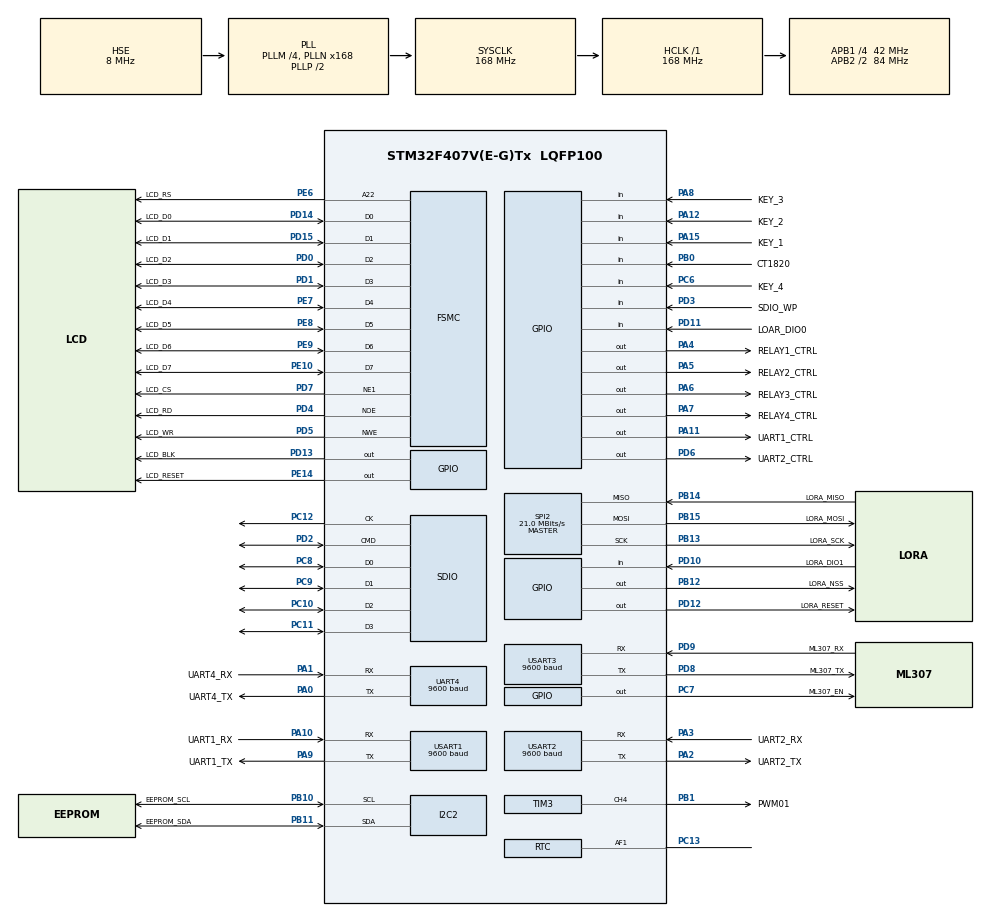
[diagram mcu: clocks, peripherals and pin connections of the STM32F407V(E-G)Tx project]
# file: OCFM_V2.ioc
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Dma.Request0=SDIO
Dma.Request1=USART3_TX
Dma.Request2=USART1_RX
Dma.Request3=USART1_TX
Dma.Request4=USART2_RX
Dma.Request5=USART2_TX
Dma.SDIO.0.Direction=DMA_PERIPH_TO_MEMORY
Dma.SDIO.0.FIFOMode=DMA_FIFOMODE_ENABLE
Dma.SDIO.0.FIFOThreshold=DMA_FIFO_THRESHOLD_FULL
Dma.SDIO.0.Instance=DMA2_Stream3
Dma.SDIO.0.MemBurst=DMA_MBURST_INC4
Dma.SDIO.0.MemDataAlignment=DMA_MDATAALIGN_WORD
Dma.SDIO.0.MemInc=DMA_MINC_ENABLE
Dma.SDIO.0.Mode=DMA_PFCTRL
Dma.SDIO.0.PeriphBurst=DMA_PBURST_INC4
Dma.SDIO.0.PeriphDataAlignment=DMA_PDATAALIGN_WORD
Dma.SDIO.0.PeriphInc=DMA_PINC_DISABLE
Dma.SDIO.0.Priority=DMA_PRIORITY_MEDIUM
Dma.USART1_RX.2.Direction=DMA_PERIPH_TO_MEMORY
Dma.USART1_RX.2.FIFOMode=DMA_FIFOMODE_DISABLE
Dma.USART1_RX.2.Instance=DMA2_Stream2
Dma.USART1_RX.2.MemDataAlignment=DMA_MDATAALIGN_BYTE
Dma.USART1_RX.2.MemInc=DMA_MINC_ENABLE
Dma.USART1_RX.2.Mode=DMA_CIRCULAR
Dma.USART1_RX.2.PeriphDataAlignment=DMA_PDATAALIGN_BYTE
Dma.USART1_RX.2.PeriphInc=DMA_PINC_DISABLE
Dma.USART1_RX.2.Priority=DMA_PRIORITY_HIGH
Dma.USART1_TX.3.Direction=DMA_MEMORY_TO_PERIPH
Dma.USART1_TX.3.FIFOMode=DMA_FIFOMODE_DISABLE
Dma.USART1_TX.3.Instance=DMA2_Stream7
Dma.USART1_TX.3.MemDataAlignment=DMA_MDATAALIGN_BYTE
Dma.USART1_TX.3.MemInc=DMA_MINC_ENABLE
Dma.USART1_TX.3.Mode=DMA_NORMAL
Dma.USART1_TX.3.PeriphDataAlignment=DMA_PDATAALIGN_BYTE
Dma.USART1_TX.3.PeriphInc=DMA_PINC_DISABLE
Dma.USART1_TX.3.Priority=DMA_PRIORITY_HIGH
Dma.USART2_RX.4.Direction=DMA_PERIPH_TO_MEMORY
Dma.USART2_RX.4.FIFOMode=DMA_FIFOMODE_DISABLE
Dma.USART2_RX.4.Instance=DMA1_Stream5
Dma.USART2_RX.4.MemDataAlignment=DMA_MDATAALIGN_BYTE
Dma.USART2_RX.4.MemInc=DMA_MINC_ENABLE
Dma.USART2_RX.4.Mode=DMA_CIRCULAR
Dma.USART2_RX.4.PeriphDataAlignment=DMA_PDATAALIGN_BYTE
Dma.USART2_RX.4.PeriphInc=DMA_PINC_DISABLE
Dma.USART2_RX.4.Priority=DMA_PRIORITY_HIGH
Dma.USART2_TX.5.Direction=DMA_MEMORY_TO_PERIPH
Dma.USART2_TX.5.FIFOMode=DMA_FIFOMODE_DISABLE
Dma.USART2_TX.5.Instance=DMA1_Stream6
Dma.USART2_TX.5.MemDataAlignment=DMA_MDATAALIGN_BYTE
Dma.USART2_TX.5.MemInc=DMA_MINC_ENABLE
Dma.USART2_TX.5.Mode=DMA_NORMAL
Dma.USART2_TX.5.PeriphDataAlignment=DMA_PDATAALIGN_BYTE
Dma.USART2_TX.5.PeriphInc=DMA_PINC_DISABLE
Dma.USART2_TX.5.Priority=DMA_PRIORITY_HIGH
Dma.USART3_TX.1.Direction=DMA_MEMORY_TO_PERIPH
Dma.USART3_TX.1.FIFOMode=DMA_FIFOMODE_DISABLE
Dma.USART3_TX.1.Instance=DMA1_Stream3
Dma.USART3_TX.1.MemDataAlignment=DMA_MDATAALIGN_BYTE
Dma.USART3_TX.1.MemInc=DMA_MINC_ENABLE
Dma.USART3_TX.1.Mode=DMA_NORMAL
Dma.USART3_TX.1.PeriphDataAlignment=DMA_PDATAALIGN_BYTE
Dma.USART3_TX.1.PeriphInc=DMA_PINC_DISABLE
Dma.USART3_TX.1.Priority=DMA_PRIORITY_HIGH
FATFS.BSP.number=1
FATFS0.BSP.STBoard=false
FATFS0.BSP.api=Unknown
FATFS0.BSP.instance=PD3
FATFS0.BSP.ip=GPIO
FATFS0.BSP.mode=Input
FATFS0.BSP.name=Detect_SDIO
FATFS0.BSP.solution=PD3
FREERTOS.Tasks01=main_task,24,2048,main_task_func,Default,NULL,Dynamic,NULL,NULL;log_task,8,2048,log_task_func,Default,NULL,Dynamic,NULL,NULL;button_scan_tas,8,512,button_scan_fun,Default,NULL,Dynamic,NULL,NULL;modbus_master_t,8,256,modbus_master_task_func,Default,NULL,Dynamic,NULL,NULL;modbus_slave_ta,8,256,modbus_slave_task_func,Default,NULL,Dynamic,NULL,NULL
FREERTOS.Timers01=flow_refresh_timer,flow_refresh_fun,osTimerPeriodic,Default,NULL,Dynamic,NULL
FREERTOS.configTOTAL_HEAP_SIZE=40960
FSMC.AddressSetupTime1=2
FSMC.BusTurnAroundDuration1=0
FSMC.DataSetupTime1=4
I2C2.OwnAddress=80
IWDG.Prescaler=IWDG_PRESCALER_64
Mcu.Family=STM32F4
Mcu.Name=STM32F407V(E-G)Tx
Mcu.Package=LQFP100
NVIC.DMA1_Stream3_IRQn=true\:5\:0\:false\:false\:true\:true\:false\:true\:true
NVIC.DMA1_Stream5_IRQn=true\:5\:0\:false\:false\:true\:true\:false\:true\:true
NVIC.DMA1_Stream6_IRQn=true\:5\:0\:false\:false\:true\:true\:false\:true\:true
NVIC.DMA2_Stream2_IRQn=true\:5\:0\:false\:false\:true\:true\:false\:true\:true
NVIC.DMA2_Stream3_IRQn=true\:5\:0\:false\:false\:true\:true\:false\:true\:true
NVIC.DMA2_Stream7_IRQn=true\:5\:0\:false\:false\:true\:true\:false\:true\:true
NVIC.PriorityGroup=NVIC_PRIORITYGROUP_4
NVIC.SDIO_IRQn=true\:5\:0\:false\:false\:true\:true\:true\:true\:true
NVIC.TIM2_IRQn=true\:15\:0\:false\:false\:true\:false\:false\:true\:true
NVIC.TimeBase=TIM2_IRQn
NVIC.TimeBaseIP=TIM2
NVIC.USART1_IRQn=true\:5\:0\:false\:false\:true\:true\:false\:true\:true
NVIC.USART2_IRQn=true\:5\:0\:false\:false\:true\:true\:false\:true\:true
NVIC.USART3_IRQn=true\:5\:0\:false\:false\:true\:true\:false\:true\:true
PA0-WKUP.GPIO_Label=UART4_TX
PA0-WKUP.Mode=Asynchronous
PA0-WKUP.Signal=UART4_TX
PA1.GPIO_Label=UART4_RX
PA1.Mode=Asynchronous
PA1.Signal=UART4_RX
PA10.GPIO_Label=UART1_RX
PA10.Mode=Asynchronous
PA10.Signal=USART1_RX
PA11.GPIO_Label=UART1_CTRL
PA11.GPIO_Speed=GPIO_SPEED_FREQ_HIGH
PA11.Signal=GPIO_Output
PA12.GPIO_Label=KEY_2
PA12.Signal=GPIO_Input
PA13.Mode=Serial_Wire
PA13.Signal=SYS_JTMS-SWDIO
PA14.Mode=Serial_Wire
PA14.Signal=SYS_JTCK-SWCLK
PA15.GPIO_Label=KEY_1
PA15.Signal=GPIO_Input
PA2.GPIO_Label=UART2_TX
PA2.Mode=Asynchronous
PA2.Signal=USART2_TX
PA3.GPIO_Label=UART2_RX
PA3.Mode=Asynchronous
PA3.Signal=USART2_RX
PA4.GPIO_Label=RELAY1_CTRL
PA4.Signal=GPIO_Output
PA5.GPIO_Label=RELAY2_CTRL
PA5.Signal=GPIO_Output
PA6.GPIO_Label=RELAY3_CTRL
PA6.Signal=GPIO_Output
PA7.GPIO_Label=RELAY4_CTRL
PA7.Signal=GPIO_Output
PA8.GPIO_Label=KEY_3
PA8.Signal=GPIO_Input
PA9.GPIO_Label=UART1_TX
PA9.Mode=Asynchronous
PA9.Signal=USART1_TX
PB0.GPIO_Label=CT1820
PB0.Signal=GPIO_Input
PB1.GPIO_Label=PWM01
PB1.GPIO_Speed=GPIO_SPEED_FREQ_HIGH
PB1.Signal=S_TIM3_CH4
PB10.GPIO_Label=EEPROM_SCL
PB10.Mode=I2C
PB10.Signal=I2C2_SCL
PB11.GPIO_Label=EEPROM_SDA
PB11.Mode=I2C
PB11.Signal=I2C2_SDA
PB12.GPIO_Label=LORA_NSS
PB12.GPIO_PuPd=GPIO_PULLUP
PB12.PinState=GPIO_PIN_SET
PB12.Signal=GPIO_Output
PB13.GPIO_Label=LORA_SCK
PB13.Mode=Full_Duplex_Master
PB13.Signal=SPI2_SCK
PB14.GPIO_Label=LORA_MISO
PB14.Mode=Full_Duplex_Master
PB14.Signal=SPI2_MISO
PB15.GPIO_Label=LORA_MOSI
PB15.Mode=Full_Duplex_Master
PB15.Signal=SPI2_MOSI
PC10.Mode=SD_4_bits_Wide_bus
PC10.Signal=SDIO_D2
PC11.Mode=SD_4_bits_Wide_bus
PC11.Signal=SDIO_D3
PC12.Mode=SD_4_bits_Wide_bus
PC12.Signal=SDIO_CK
PC13-ANTI_TAMP.Mode=Calibration_1Hz
PC13-ANTI_TAMP.Signal=RTC_AF1
PC14-OSC32_IN.Mode=LSE-External-Oscillator
PC14-OSC32_IN.Signal=RCC_OSC32_IN
PC15-OSC32_OUT.Mode=LSE-External-Oscillator
PC15-OSC32_OUT.Signal=RCC_OSC32_OUT
PC6.GPIO_Label=KEY_4
PC6.Signal=GPIO_Input
PC7.GPIO_Label=ML307_EN
PC7.PinState=GPIO_PIN_SET
PC7.Signal=GPIO_Output
PC8.Mode=SD_4_bits_Wide_bus
PC8.Signal=SDIO_D0
PC9.Mode=SD_4_bits_Wide_bus
PC9.Signal=SDIO_D1
PD0.GPIO_Label=LCD_D2
PD0.Mode=8b-d1
PD0.Signal=FSMC_D2
PD1.GPIO_Label=LCD_D3
PD1.Mode=8b-d1
PD1.Signal=FSMC_D3
PD10.GPIO_Label=LORA_DIO1
PD10.Signal=GPIO_Input
PD11.GPIO_Label=LOAR_DIO0
PD11.Signal=GPIO_Input
PD12.GPIO_Label=LORA_RESET
PD12.GPIO_PuPd=GPIO_PULLUP
PD12.PinState=GPIO_PIN_SET
PD12.Signal=GPIO_Output
PD13.GPIO_Label=LCD_BLK
PD13.PinState=GPIO_PIN_RESET
PD13.Signal=GPIO_Output
PD14.GPIO_Label=LCD_D0
PD14.Mode=8b-d1
PD14.Signal=FSMC_D0
PD15.GPIO_Label=LCD_D1
PD15.Mode=8b-d1
PD15.Signal=FSMC_D1
PD2.Mode=SD_4_bits_Wide_bus
PD2.Signal=SDIO_CMD
PD3.GPIO_Label=SDIO_WP
PD3.GPIO_PuPd=GPIO_PULLUP
PD3.Signal=GPIO_Input
PD4.GPIO_Label=LCD_RD
PD4.Mode=Lcd1
PD4.Signal=FSMC_NOE
PD5.GPIO_Label=LCD_WR
PD5.Mode=Lcd1
PD5.Signal=FSMC_NWE
PD6.GPIO_Label=UART2_CTRL
PD6.GPIO_Speed=GPIO_SPEED_FREQ_HIGH
PD6.PinState=GPIO_PIN_RESET
PD6.Signal=GPIO_Output
PD7.GPIO_Label=LCD_CS
PD7.Mode=NorPsramChipSelect1_1
PD7.Signal=FSMC_NE1
PD8.GPIO_Label=ML307_TX
PD8.Mode=Asynchronous
PD8.Signal=USART3_TX
PD9.GPIO_Label=ML307_RX
PD9.Mode=Asynchronous
PD9.Signal=USART3_RX
PE10.GPIO_Label=LCD_D7
PE10.Mode=8b-d1
PE10.Signal=FSMC_D7
PE14.GPIO_Label=LCD_RESET
PE14.PinState=GPIO_PIN_SET
PE14.Signal=GPIO_Output
PE6.GPIO_Label=LCD_RS
PE6.Mode=A22_1
PE6.Signal=FSMC_A22
PE7.GPIO_Label=LCD_D4
PE7.Mode=8b-d1
PE7.Signal=FSMC_D4
PE8.GPIO_Label=LCD_D5
PE8.Mode=8b-d1
PE8.Signal=FSMC_D5
PE9.GPIO_Label=LCD_D6
PE9.Mode=8b-d1
PE9.Signal=FSMC_D6
PH0-OSC_IN.Mode=HSE-External-Oscillator
PH0-OSC_IN.Signal=RCC_OSC_IN
PH1-OSC_OUT.Mode=HSE-External-Oscillator
PH1-OSC_OUT.Signal=RCC_OSC_OUT
ProjectManager.HeapSize=0x2000
ProjectManager.StackSize=0x4000
ProjectManager.TargetToolchain=MDK-ARM V5.32
RCC.48MHZClocksFreq_Value=48000000
RCC.AHBFreq_Value=168000000
RCC.APB1CLKDivider=RCC_HCLK_DIV4
RCC.APB1Freq_Value=42000000
RCC.APB1TimFreq_Value=84000000
RCC.APB2CLKDivider=RCC_HCLK_DIV2
RCC.APB2Freq_Value=84000000
RCC.APB2TimFreq_Value=168000000
RCC.CortexFreq_Value=168000000
RCC.HCLKFreq_Value=168000000
RCC.HSE_VALUE=8000000
RCC.HSI_VALUE=16000000
RCC.PLLM=4
RCC.PLLN=168
RCC.PLLQ=7
RCC.PLLSourceVirtual=RCC_PLLSOURCE_HSE
RCC.RCC_RTC_Clock_Source=RCC_RTCCLKSOURCE_LSE
RCC.RCC_RTC_Clock_SourceVirtual=RCC_RTCCLKSOURCE_LSE
RCC.SYSCLKFreq_VALUE=168000000
RCC.SYSCLKSource=RCC_SYSCLKSOURCE_PLLCLK
RCC.VCOOutputFreq_Value=336000000
SH.S_TIM3_CH4.0=TIM3_CH4,PWM Generation4 CH4
SPI2.CalculateBaudRate=21.0 MBits/s
SPI2.Direction=SPI_DIRECTION_2LINES
SPI2.Mode=SPI_MODE_MASTER
SPI2.VirtualType=VM_MASTER
TIM3.AutoReloadPreload=TIM_AUTORELOAD_PRELOAD_ENABLE
TIM3.Channel-PWM\ Generation4\ CH4=TIM_CHANNEL_4
TIM3.OCPolarity_4=TIM_OCPOLARITY_LOW
TIM3.Period=7999
TIM3.Prescaler=10
UART4.BaudRate=9600
UART4.VirtualMode=Asynchronous
USART1.BaudRate=9600
USART1.VirtualMode=VM_ASYNC
USART2.BaudRate=9600
USART2.VirtualMode=VM_ASYNC
USART3.BaudRate=9600
USART3.VirtualMode=VM_ASYNC
VP_FATFS_VS_SDIO.Mode=SDIO
VP_FREERTOS_VS_CMSIS_V2.Mode=CMSIS_V2
VP_IWDG_VS_IWDG.Mode=IWDG_Activate
VP_RTC_VS_RTC_Activate.Mode=RTC_Enabled
VP_RTC_VS_RTC_Calendar.Mode=RTC_Calendar
VP_SYS_VS_tim2.Mode=TIM2
VP_TIM3_VS_ClockSourceINT.Mode=Internal
board=custom

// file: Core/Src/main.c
/* USER CODE BEGIN Header */
/**
  ******************************************************************************
  * @file           : main.c
  * @brief          : Main program body
  ******************************************************************************
  * @attention
  *
  * Copyright (c) 2026 STMicroelectronics.
  * All rights reserved.
  *
  * This software is licensed under terms that can be found in the LICENSE file
  * in the root directory of this software component.
  * If no LICENSE file comes with this software, it is provided AS-IS.
  *
  ******************************************************************************
  */
/* USER CODE END Header */
#include "main.h"
#include "cmsis_os.h"
#include "dma.h"
#include "fatfs.h"
#include "i2c.h"
#include "iwdg.h"
#include "rtc.h"
#include "sdio.h"
#include "spi.h"
#include "tim.h"
#include "usart.h"
#include "gpio.h"
#include "fsmc.h"

void SystemClock_Config(void);
void MX_FREERTOS_Init(void);

int main(void)
{

  /* MCU Configuration--------------------------------------------------------*/

  /* Reset of all peripherals, Initializes the Flash interface and the Systick. */
  HAL_Init();

  /* Configure the system clock */
  SystemClock_Config();

  /* Initialize all configured peripherals */
  MX_GPIO_Init();
  MX_DMA_Init();
  MX_SDIO_SD_Init();
  MX_FATFS_Init();
  MX_SPI2_Init();
  MX_USART3_UART_Init();
  MX_FSMC_Init();
  MX_I2C2_Init();
  MX_TIM3_Init();
  MX_UART4_Init();
  MX_USART1_UART_Init();
  MX_USART2_UART_Init();
  MX_RTC_Init();
  MX_IWDG_Init();

  /* Init scheduler */
  osKernelInitialize();  /* Call init function for freertos objects (in cmsis_os2.c) */
  MX_FREERTOS_Init();

  /* Start scheduler */
  osKernelStart();

  /* We should never get here as control is now taken by the scheduler */

  /* Infinite loop */
  while (1)
  {

  }
}

void SystemClock_Config(void)
{
  RCC_OscInitTypeDef RCC_OscInitStruct = {0};
  RCC_ClkInitTypeDef RCC_ClkInitStruct = {0};

  /** Configure the main internal regulator output voltage
  */
  __HAL_RCC_PWR_CLK_ENABLE();
  __HAL_PWR_VOLTAGESCALING_CONFIG(PWR_REGULATOR_VOLTAGE_SCALE1);

  /** Initializes the RCC Oscillators according to the specified parameters
  * in the RCC_OscInitTypeDef structure.
  */
  RCC_OscInitStruct.OscillatorType = RCC_OSCILLATORTYPE_LSI|RCC_OSCILLATORTYPE_HSE
                              |RCC_OSCILLATORTYPE_LSE;
  RCC_OscInitStruct.HSEState = RCC_HSE_ON;
  RCC_OscInitStruct.LSEState = RCC_LSE_ON;
  RCC_OscInitStruct.LSIState = RCC_LSI_ON;
  RCC_OscInitStruct.PLL.PLLState = RCC_PLL_ON;
  RCC_OscInitStruct.PLL.PLLSource = RCC_PLLSOURCE_HSE;
  RCC_OscInitStruct.PLL.PLLM = 4;
  RCC_OscInitStruct.PLL.PLLN = 168;
  RCC_OscInitStruct.PLL.PLLP = RCC_PLLP_DIV2;
  RCC_OscInitStruct.PLL.PLLQ = 7;
  if (HAL_RCC_OscConfig(&RCC_OscInitStruct) != HAL_OK)
  {
    Error_Handler();
  }

  /** Initializes the CPU, AHB and APB buses clocks
  */
  RCC_ClkInitStruct.ClockType = RCC_CLOCKTYPE_HCLK|RCC_CLOCKTYPE_SYSCLK
                              |RCC_CLOCKTYPE_PCLK1|RCC_CLOCKTYPE_PCLK2;
  RCC_ClkInitStruct.SYSCLKSource = RCC_SYSCLKSOURCE_PLLCLK;
  RCC_ClkInitStruct.AHBCLKDivider = RCC_SYSCLK_DIV1;
  RCC_ClkInitStruct.APB1CLKDivider = RCC_HCLK_DIV4;
  RCC_ClkInitStruct.APB2CLKDivider = RCC_HCLK_DIV2;

  if (HAL_RCC_ClockConfig(&RCC_ClkInitStruct, FLASH_LATENCY_5) != HAL_OK)
  {
    Error_Handler();
  }
}

void HAL_TIM_PeriodElapsedCallback(TIM_HandleTypeDef *htim)
{
  if (htim->Instance == TIM2)
  {
    HAL_IncTick();
  }
}

void Error_Handler(void)
{
  __disable_irq();
  while (1)
  {
  }
}

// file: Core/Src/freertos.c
/* USER CODE BEGIN Header */
/**
  ******************************************************************************
  * File Name          : freertos.c
  * Description        : Code for freertos applications
  ******************************************************************************
  * @attention
  *
  * Copyright (c) 2026 STMicroelectronics.
  * All rights reserved.
  *
  * This software is licensed under terms that can be found in the LICENSE file
  * in the root directory of this software component.
  * If no LICENSE file comes with this software, it is provided AS-IS.
  *
  ******************************************************************************
  */
/* USER CODE END Header */

#include "FreeRTOS.h"
#include "task.h"
#include "main.h"
#include "cmsis_os.h"

/* USER CODE BEGIN Includes */
#include "global.h"
#include "lvgl.h"
#include "lv_port_disp.h"
#include "app_log.h"
#include "rtc_time.h"
#include "app_button.h"
#include "app_sensor.h"
#include "app_config.h"
#include "app_flow_calc.h"
#include "app_current.h"
#include "app_alarm.h"
#include "../Interface/modbus_slave.h"
#include "../App/app_modbus_slave.h"
#include "data_recorder.h"
#include "../App/ui/ui_history.h"
#include "iwdg.h"
/* USER CODE END Includes */

/* USER CODE BEGIN Variables */
static volatile uint8_t s_system_ready = 0U;
extern IWDG_HandleTypeDef hiwdg;

/* USER CODE END Variables */
/* Definitions for main_task */
osThreadId_t main_taskHandle;
const osThreadAttr_t main_task_attributes = {
  .name = "main_task",
  .stack_size = 2048 * 4,
  .priority = (osPriority_t) osPriorityNormal,
};
/* Definitions for log_task */
osThreadId_t log_taskHandle;
const osThreadAttr_t log_task_attributes = {
  .name = "log_task",
  .stack_size = 2048 * 4,
  .priority = (osPriority_t) osPriorityLow,
};
/* Definitions for button_scan_tas */
osThreadId_t button_scan_tasHandle;
const osThreadAttr_t button_scan_tas_attributes = {
  .name = "button_scan_tas",
  .stack_size = 512 * 4,
  .priority = (osPriority_t) osPriorityLow,
};
/* Definitions for modbus_master_t */
osThreadId_t modbus_master_tHandle;
const osThreadAttr_t modbus_master_t_attributes = {
  .name = "modbus_master_t",
  .stack_size = 256 * 4,
  .priority = (osPriority_t) osPriorityLow,
};
/* Definitions for modbus_slave_ta */
osThreadId_t modbus_slave_taHandle;
const osThreadAttr_t modbus_slave_ta_attributes = {
  .name = "modbus_slave_ta",
  .stack_size = 256 * 4,
  .priority = (osPriority_t) osPriorityLow,
};
/* Definitions for flow_refresh_timer */
osTimerId_t flow_refresh_timerHandle;
const osTimerAttr_t flow_refresh_timer_attributes = {
  .name = "flow_refresh_timer"
};

/* USER CODE BEGIN FunctionPrototypes */
static uint8_t app_system_is_ready(void);
static void app_system_set_ready(void);
static void app_system_wait_ready(void);

/* USER CODE END FunctionPrototypes */

void main_task_func(void *argument);
void log_task_func(void *argument);
void button_scan_fun(void *argument);
void modbus_master_task_func(void *argument);
void modbus_slave_task_func(void *argument);
void flow_refresh_fun(void *argument);

void MX_FREERTOS_Init(void); /* (MISRA C 2004 rule 8.1) */

void MX_FREERTOS_Init(void) {

  /* Create the timer(s) */
  /* creation of flow_refresh_timer */
  flow_refresh_timerHandle = osTimerNew(flow_refresh_fun, osTimerPeriodic, NULL, &flow_refresh_timer_attributes);

  /* USER CODE BEGIN RTOS_TIMERS */
  /* start timers, add new ones, ... */
  /* flow_refresh_timer is started after application modules are ready. */
  /* USER CODE END RTOS_TIMERS */

  /* Create the thread(s) */
  /* creation of main_task */
  main_taskHandle = osThreadNew(main_task_func, NULL, &main_task_attributes);

  /* creation of log_task */
  log_taskHandle = osThreadNew(log_task_func, NULL, &log_task_attributes);

  /* creation of button_scan_tas */
  button_scan_tasHandle = osThreadNew(button_scan_fun, NULL, &button_scan_tas_attributes);

  /* creation of modbus_master_t */
  modbus_master_tHandle = osThreadNew(modbus_master_task_func, NULL, &modbus_master_t_attributes);

  /* creation of modbus_slave_ta */
  modbus_slave_taHandle = osThreadNew(modbus_slave_task_func, NULL, &modbus_slave_ta_attributes);

}

void main_task_func(void *argument)
{
  /* USER CODE BEGIN main_task_func */
  app_config_init();  // 初始化配置（从EEPROM加载或使用默认值）
  app_alarm_init();   // 初始化报警模块（继电器初始化为关闭状态）
  flow_calc_load_total();  // 加载累计流量（优先备份寄存器，其次EEPROM）
  app_sensor_init();  // 初始化传感器模块
  app_current_init();  // 初始化4-20mA电流输出
  lv_init();  // 初始化LVGL库
  lv_tick_set_cb(xTaskGetTickCount);  // 设置LVGL定时器回调函数，使用FreeRTOS的tick计数
  lv_delay_set_cb(vTaskDelay);  // 设置LVGL延时回调函数，使用FreeRTOS的延时函数
  lv_port_disp_init();  // 初始化显示端口
  // lv_demo_benchmark();  // 初始化演示基准测试
  ui_create();
  app_system_set_ready();
  if (flow_refresh_timerHandle != NULL) {
      (void)osTimerStart(flow_refresh_timerHandle, 1000U);
  }
  HAL_IWDG_Refresh(&hiwdg);
  /* 背光关闭状态下运行几个渲染周期，让LVGL自然完成首帧渲染 */
  for (int i = 0; i < 10; i++) {
      lv_timer_handler();
      osDelay(5);
  }
  fsmc_st7789_backlight_on();
  /* Infinite loop - 只服务LVGL */
  for(;;)
  {
    uint32_t tick = lv_timer_handler();
    if (tick > 10) {
      tick = 10;
    }
    osDelay(pdMS_TO_TICKS(tick));
  }
  /* USER CODE END main_task_func */
}

void log_task_func(void *argument)
{
  /* USER CODE BEGIN log_task_func */
  app_system_wait_ready();

  app_log_data_init();

  /* 等待首次数据就绪 (flow_refresh_timer 1秒后才首次运行) */
  osDelay(2000);

  static uint32_t last_record_tick = 0;

  /* Infinite loop */
  for(;;)
  {
    /* 处理EEPROM保存请求 (在log_task上下文执行，避免阻塞LVGL) */
    app_config_process();
    flow_calc_process();

    /* 处理异步日志队列 (所有文件I/O统一在log_task上下文) */
    app_log_process();

    /* 处理历史记录查询请求 (文件I/O在log_task上下文执行) */
    history_query_process();

    /* 定时记录数据到CSV */
    if (HAL_GetTick() - last_record_tick >= DATA_RECORD_INTERVAL_MS)
    {
      last_record_tick = HAL_GetTick();

      /* 获取传感器数据快照 */
      SensorData_t sensor_snap;
      app_sensor_get_snapshot(&sensor_snap);

      float water_level = 0.0f;
      float temperature = 0.0f;
      if (sensor_snap.is_online) {
          water_level = sensor_snap.water_level_m;
      }
      if (sensor_snap.temp_valid) {
          temperature = sensor_snap.temperature_x10 / 10.0f;
      }

      /* 组装报警标志位 */
      uint16_t flags = 0;
      if (app_alarm_get_state(ALARM_TYPE_AH) == ALARM_STATE_ACTIVE)  flags |= 0x0001;
      if (app_alarm_get_state(ALARM_TYPE_AL) == ALARM_STATE_ACTIVE)  flags |= 0x0002;
      if (app_alarm_get_state(ALARM_TYPE_AAH) == ALARM_STATE_ACTIVE) flags |= 0x0004;
      if (app_alarm_get_state(ALARM_TYPE_AAL) == ALARM_STATE_ACTIVE) flags |= 0x0008;

      /* 记录一条数据到CSV */
      data_record_flow(
          water_level,
          flow_calc_get_instant_lps() * 3.6f,
          flow_calc_get_total(),
          flow_calc_get_total_time(),
          temperature,
          flags
      );
    }

    HAL_IWDG_Refresh(&hiwdg);
    osDelay(500);
  }
  /* USER CODE END log_task_func */
}

void button_scan_fun(void *argument)
{
  /* USER CODE BEGIN button_scan_fun */
  app_system_wait_ready();

  /* 初始化应用层按键 */
  app_button_init();

  /* 无限循环 */
  for(;;)
  {
    button_driver_scan(10);  // 10ms扫描周期
    osDelay(10);             // 10ms延时
  }
  /* USER CODE END button_scan_fun */
}

void modbus_master_task_func(void *argument)
{
  /* USER CODE BEGIN modbus_master_task_func */
  app_system_wait_ready();

  /* Infinite loop */
  for(;;)
  {
    app_sensor_poll();
    osDelay(10);  /* 10ms周期 */
  }
  /* USER CODE END modbus_master_task_func */
}

void modbus_slave_task_func(void *argument)
{
  /* USER CODE BEGIN modbus_slave_task_func */
  app_system_wait_ready();

  /* 初始化应用层：将配置参数预填到寄存器（内部会调用modbus_slave_init） */
  app_modbus_slave_init();

  /* 注册写入回调 */
  modbus_slave_set_write_callback(app_modbus_slave_on_write);

  /* 寄存器更新计数器 (每20次=200ms) */
  uint16_t update_counter = 0;

  /* 无限循环 */
  for(;;)
  {
    /* 非阻塞处理Modbus请求 */
    modbus_slave_task(&sensor_slave);
    app_modbus_slave_process_pending();

    /* 每200ms更新一次寄存器数据，避免与flow_calc_update(1s)同频导致读重复值 */
    if (++update_counter >= 20)
    {
      update_counter = 0;
      app_modbus_slave_update();
    }

    osDelay(10);  /* 10ms周期 */
  }
  /* USER CODE END modbus_slave_task_func */
}

/* flow_refresh_fun function */
void flow_refresh_fun(void *argument)
{
  /* USER CODE BEGIN flow_refresh_fun */
  if (!app_system_is_ready()) {
      return;
  }

  SensorData_t sensor_snap;
  app_sensor_get_snapshot(&sensor_snap);
  float water_level = 0.0f;
  if (sensor_snap.is_online)
      water_level = sensor_snap.water_level_m;

  flow_calc_update(water_level);

  /* 报警判断: 传感器离线时不触发报警 */
  float flow_m3h = flow_calc_get_instant_lps() * 3.6f;
  app_alarm_update(flow_m3h, sensor_snap.is_online);

  /* 4-20mA输出: 使用原始L/s转m³/h（确保单位一致） */
  app_current_update(flow_m3h);
  /* USER CODE END flow_refresh_fun */
}

/* USER CODE BEGIN Application */
static uint8_t app_system_is_ready(void)
{
    return s_system_ready != 0U;
}

static void app_system_set_ready(void)
{
    s_system_ready = 1U;
}

static void app_system_wait_ready(void)
{
    while (!app_system_is_ready()) {
        osDelay(10U);
    }
}

/* USER CODE END Application */
